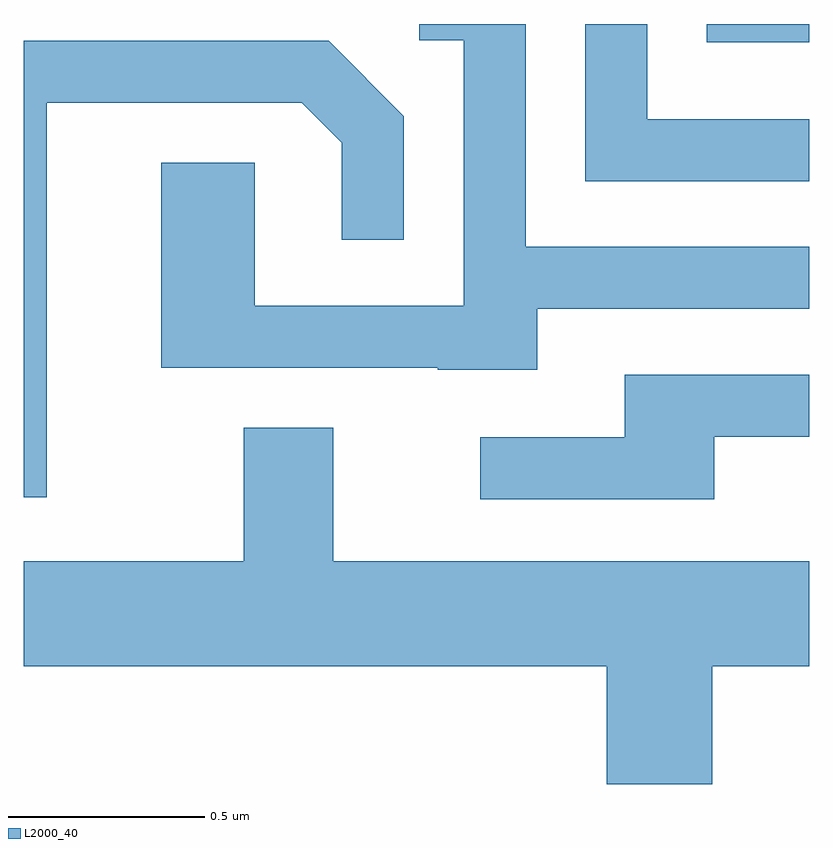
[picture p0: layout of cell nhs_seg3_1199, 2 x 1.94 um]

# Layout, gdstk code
import gdstk
lib = gdstk.Library(unit=1e-6, precision=1e-09)
def R(c, l, rs):  # rectangles x0, y0, x1, y1
    for r in rs: c.add(gdstk.rectangle(r[:2], r[2:], *l))
def P(c, l, *ps):  # polygons
    for p in ps: c.add(gdstk.Polygon(p, *l))
L2000_40 = (2000, 40)

nhs_seg3_1199 = lib.new_cell('nhs_seg3_1199')
R(nhs_seg3_1199, L2000_40, [(195.351,1220.846,195.611,1220.892)])
P(nhs_seg3_1199, L2000_40, [(194.919,1220.166),(195.611,1220.166),(195.611,1220.324),(194.889,1220.324),(194.889,1220.892),(194.618,1220.892),(194.618,1220.851),(194.731,1220.851),(194.731,1220.174),(194.199,1220.174),(194.199,1220.539),(193.961,1220.539),(193.961,1220.016),(194.665,1220.016),(194.665,1220.011),(194.919,1220.011)],
  [(195.611,1220.649),(195.199,1220.649),(195.199,1220.892),(195.041,1220.892),(195.041,1220.491),(195.611,1220.491)],
  [(193.669,1220.691),(194.319,1220.691),(194.421,1220.589),(194.421,1220.343),(194.579,1220.343),(194.579,1220.657),(194.387,1220.849),(193.611,1220.849),(193.611,1219.686),(193.669,1219.686)],
  [(195.369,1219.841),(195.611,1219.841),(195.611,1219.999),(195.141,1219.999),(195.141,1219.839),(194.773,1219.839),(194.773,1219.681),(195.369,1219.681)],
  [(195.364,1219.256),(195.611,1219.256),(195.611,1219.524),(194.399,1219.524),(194.399,1219.864),(194.171,1219.864),(194.171,1219.524),(193.611,1219.524),(193.611,1219.256),(195.096,1219.256),(195.096,1218.956),(195.364,1218.956)])

lib.write_gds('nhs_seg3_1199.gds')
